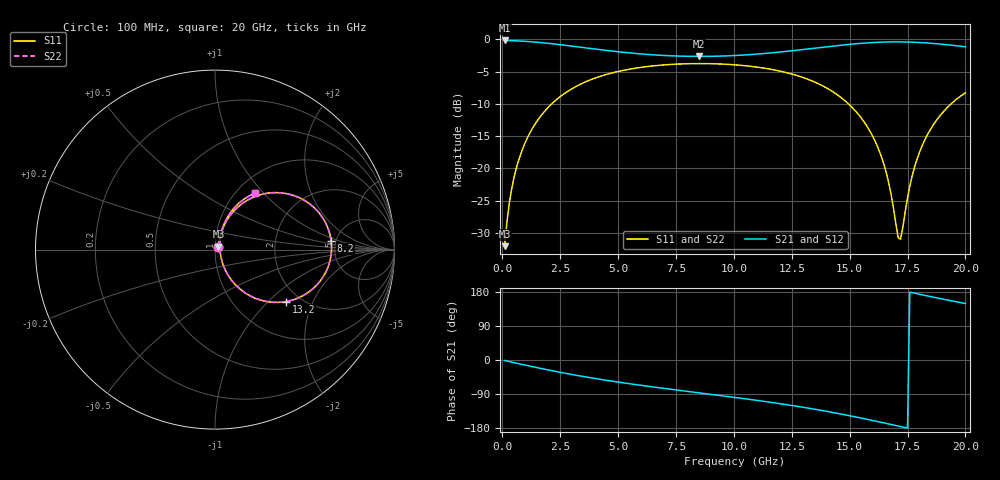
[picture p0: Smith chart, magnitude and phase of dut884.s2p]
! Touchstone file exported from HFSS 2026.1.0
!  File:  C:/ffzhzh/LocalFiles/Ansys_Project_Files/temp_train_TSV_RDL_884_1783274147_30076.aedt
!  Generated:  02:05:05 AM Jul  6, 2026
!  Design:  TSV_RDL
!  Project:  temp_train_TSV_RDL_884_1783274147_30076
! Variables:
!  h_bsmrdl = 4.36um
!  h_ox = 20um
!  h_rdl = 5um
!  h_sub = 73.96um
!  h_tmrdl = 3.92um
!  h_tsv = 73.96um
!  h_via = 3um
!  l_bsmrdl = 306.37um
!  l_sub = 3455.94um
!  l_tmrdl = 508.28um
!  m_sub = 200um
!  pitch = 57.62um
!  r_tsv = 6.58um
!  s_tmrdl = 10um
!  w_bsmrdl = 20.65um
!  w_sub = 500um
!  w_tmrdl = 13.92um
!  x_tsv_center1 = 515.24um
!  x_tsv_center2 = 842.26um
!  x_tsv_center3 = 1364.46um
!  x_tsv_center4 = 1691.48um
!  x_tsv_center5 = 2213.68um
!  x_tsv_center6 = 2540.7um
# GHz S MA R 50.000000
! Terminal data exported
! Port[1] = TM_RDL1_1_T1
! Port[2] = TM_RDL5_1_T1
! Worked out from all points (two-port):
!   200 points, 100 MHz to 20 GHz, reference 50 ohm
!   highest |S21| = -0.16 dB at 100 MHz (marker M1); lowest = -2.6 dB at 8.5 GHz (marker M2)
!   |S21| within 3 dB of the highest: start of sweep to end of sweep
!   lowest |S11| = -32.0 dB at 100 MHz (marker M3), VSWR 1.05, Z = 51.9 + j1.69 ohm
!   |S11| at or under -10 dB: start of sweep to 2.132 GHz; 14.95 GHz to 19.38 GHz (4.427 GHz wide, 25.8 % of centre)
!   |S22| runs from -32.0 to -3.7 dB; largest |S21 - S12| = 2.5e-14
!   S11 on the Smith chart (normalised r, x): 100 MHz: 1.04, +0.03; 8.2 GHz: 4.56, +0.76; 13.2 GHz: 1.70, -1.29; 20 GHz: 1.21, +0.90
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0.1  0.02498 40.8  0.9813 -1.4  0.9813 -1.4  0.02498 40.8
! Gamma 0 0 0 0
! Port Impedance 50 0 50 0
0.3  0.05332 64.5  0.9794 -4.2  0.9794 -4.2  0.05332 64.5
0.5  0.0841 69.2  0.9764 -6.9  0.9764 -6.9  0.0841 69.2
1.1  0.175 68.0  0.9632 -15.0  0.9632 -15.0  0.175 68.0
2.1  0.3123 58.2  0.9276 -27.7  0.9276 -27.7  0.3123 58.2
3.5  0.4608 43.6  0.8644 -43.6  0.8644 -43.6  0.4608 43.6
6.8  0.6304 14.8  0.7538 -73.4  0.7538 -73.4  0.6304 14.8
8.2  0.6489 4.3  0.7388 -84.4  0.7388 -84.4  0.6489 4.3
8.5  0.6496 2.1  0.7383 -86.7  0.7383 -86.7  0.6496 2.1
10.1  0.6341 -9.9  0.7508 -99.1  0.7508 -99.1  0.6341 -9.9
13.2  0.4909 -36.1  0.8431 -126.9  0.8431 -126.9  0.4909 -36.1
13.4  0.4749 -38.0  0.8512 -128.9  0.8512 -128.9  0.4749 -38.0
14.6  0.3579 -49.9  0.9006 -142.3  0.9006 -142.3  0.3579 -49.9
15.5  0.2464 -58.6  0.9324 -153.2  0.9324 -153.2  0.2464 -58.6
16.2  0.1483 -63.2  0.9495 -162.3  0.9495 -162.3  0.1483 -63.1
16.7  0.07575 -59.0  0.9559 -168.9  0.9559 -168.9  0.07583 -58.8
17.1  0.02904 -13.9  0.9571 -174.3  0.9571 -174.3  0.02926 -13.7
17.2  0.02828 16.0  0.9568 -175.6  0.9568 -175.6  0.0285 15.9
17.7  0.08729 68.2  0.9521 177.7  0.9521 177.7  0.08737 68.1
18.2  0.1596 70.2  0.9422 171.1  0.9422 171.1  0.1596 70.2
19  0.2689 64.4  0.9173 161.0  0.9173 161.0  0.2689 64.4
20  0.3858 54.7  0.8767 149.1  0.8767 149.1  0.3858 54.6
